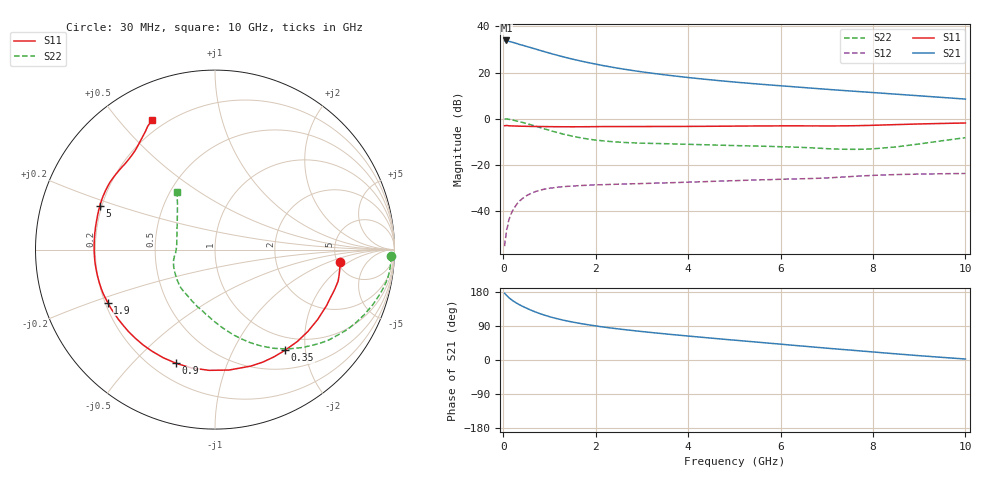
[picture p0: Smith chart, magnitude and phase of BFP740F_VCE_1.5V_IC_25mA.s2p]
! Infineon Technologies  Discrete & RF Semiconductors
! BFP740F
! VCE =  1.5 V,  IC =  25 mA
! Common Emitter S-Parameters:  Oct 2012
# GHz  S  MA  R  50
!  f  S11  S21  S12  S22
! GHz  MAG  ANG  MAG  ANG  MAG  ANG  MAG  ANG
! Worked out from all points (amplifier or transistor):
!   99 points, 30 MHz to 10 GHz, reference 50 ohm
!   highest |S21| = 33.9 dB at 70 MHz (marker M1)
!   |S21| within 3 dB of that: start of sweep to 577.4 MHz
!   unconditionally stable (mu >= 1): 5.44 GHz to end of sweep
!   at 350 MHz: K = 0.15, MSG = 34.0 dB, |S12| = -35.9 dB
!   at 3.5 GHz: K = 0.75, MSG = 23.4 dB, |S12| = -27.9 dB
!   at 10 GHz: K = 1.21, MAG = 13.4 dB, |S12| = -23.8 dB
!   S11 on the Smith chart (normalised r, x): 30 MHz: 5.28, -1.39; 350 MHz: 0.78, -1.64; 900 MHz: 0.29, -0.67; 1.9 GHz: 0.21, -0.22; 5 GHz: 0.19, +0.18; 10 GHz: 0.15, +0.62
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0.03  0.6995 -5.5  48.54 176.1  0.0017 91.7  0.9794 -2.2
0.07  0.7068 -12.7  49.6 170.9  0.0037 80.5  0.9793 -6.8
0.1  0.7032 -18.0  48.56 167.1  0.0048 82.2  0.9733 -9.9
0.15  0.6957 -26.5  46.85 161.7  0.0077 76.9  0.9535 -14.8
0.2  0.692 -34.2  45.26 157.1  0.0099 76.7  0.9312 -19.3
0.25  0.6898 -41.4  43.87 153.1  0.012 71.6  0.9075 -23.5
0.35  0.6834 -55.1  40.68 145.9  0.0161 66.1  0.8603 -31.3
0.45  0.6812 -67.0  38.26 139.8  0.0194 60.3  0.8103 -38.4
0.6  0.6756 -83.3  34.61 131.5  0.0237 53.6  0.732 -48.2
0.7  0.6735 -92.8  32.24 126.6  0.0261 49.4  0.684 -54.1
0.9  0.6696 -108.8  28.21 118.1  0.0295 42.9  0.5945 -64.5
1.1  0.6661 -121.8  24.74 111.0  0.0316 37.9  0.5196 -73.4
1.3  0.664 -132.1  21.86 105.1  0.0332 34.2  0.4599 -81.2
1.7  0.664 -147.7  17.56 95.7  0.0353 29.8  0.3781 -94.6
1.9  0.6666 -153.7  15.94 91.9  0.036 28.2  0.3515 -100.8
2.5  0.671 -167.4  12.32 81.9  0.0377 25.5  0.3084 -116.2
3.4  0.6737 178.5  9.15 70.2  0.04 24.7  0.2865 -130.8
5  0.6863 159.3  6.213 52.4  0.0448 24.5  0.2595 -148.4
5.1  0.6877 158.3  6.09 51.3  0.0452 24.5  0.2582 -149.7
6.7  0.6931 141.4  4.551 34.4  0.0501 24.5  0.231 -169.6
8.5  0.7396 123.7  3.386 16.2  0.0609 21.1  0.2426 150.6
10  0.8018 115.8  2.649 2.6  0.0643 15.8  0.3852 123.3
